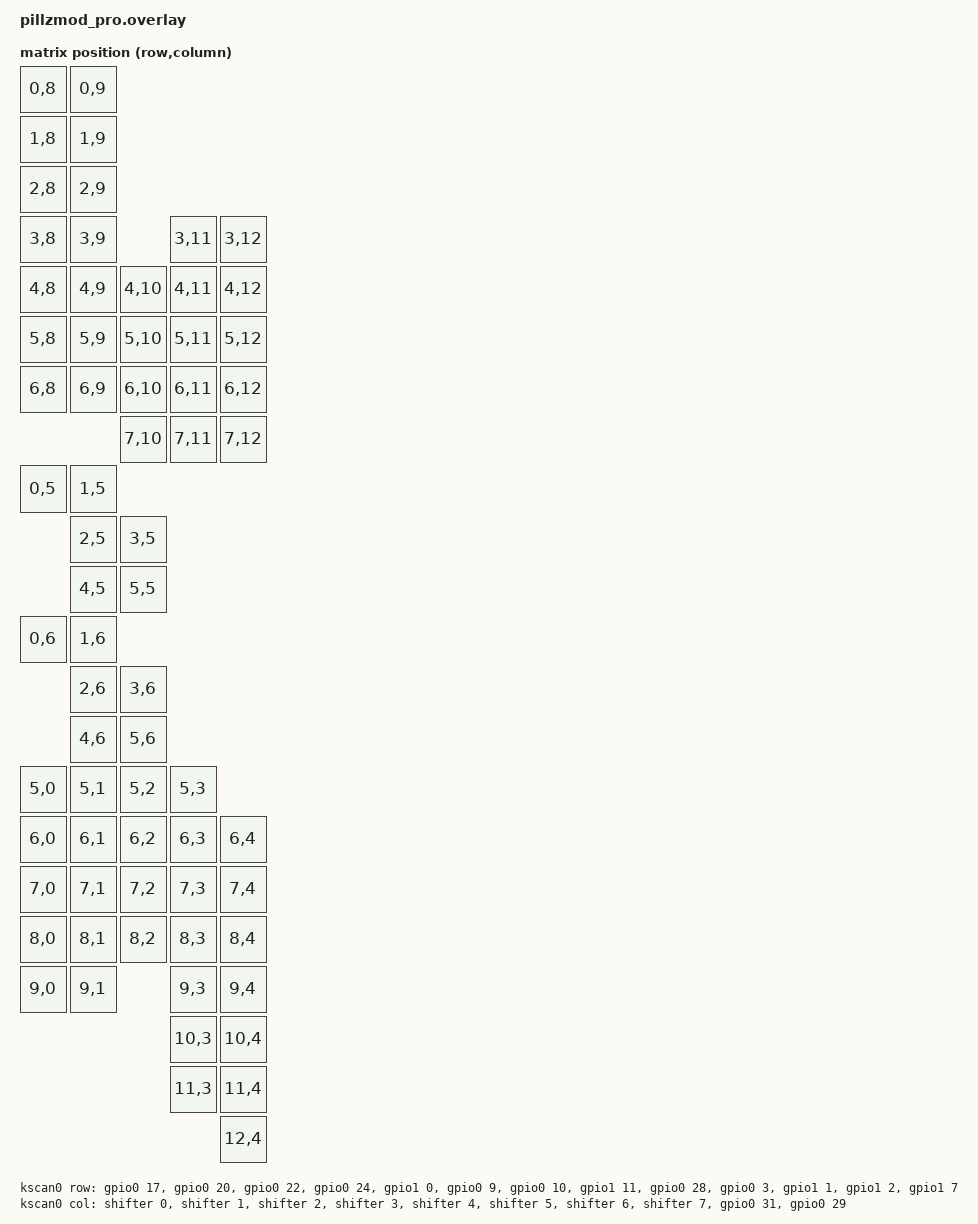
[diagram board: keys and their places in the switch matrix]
#include <dt-bindings/zmk/matrix_transform.h>
#include <physical_layouts.dtsi>

&pro_micro_spi {
    status = "okay";
    cs-gpios = <&gpio0 9 GPIO_ACTIVE_LOW>;

    shifter: 595@0 {
        compatible = "zmk,gpio-595";
        status = "okay";
        gpio-controller;
        spi-max-frequency = <2000000>;
        reg = <0>;
        #gpio-cells = <2>;
        ngpios = <8>;
    };
};

/ {
    chosen {
        zmk,kscan = &kscan0;
        zmk,physical-layout = &physical_layout0;
    };

    aliases {
        led-caps = &led_caps_node;
        led-num = &led_num_node;
        led-scroll = &led_scroll_node;
    };

    leds {
        compatible = "gpio-leds";

        led_caps_node: led_0 {
            gpios = <&gpio0 15 GPIO_ACTIVE_HIGH>;
            label = "Caps Lock LED";
        };

        led_num_node: led_1 {
            gpios = <&gpio0 16 GPIO_ACTIVE_HIGH>;
            label = "Num Lock LED";
        };

        led_scroll_node: led_2 {
            gpios = <&gpio0 14 GPIO_ACTIVE_HIGH>;
            label = "Scroll Lock LED";
        };
    };

    physical_layout0: physical_layout_0 {
        compatible = "zmk,physical-layout";
        display-name = "Default Layout";
        transform = <&default_transform>;
        kscan = <&kscan0>;

        keys
            = <&key_physical_attrs 100 100 0 0 0 0 0>
            , <&key_physical_attrs 100 100 0 0 0 0 0>
            , <&key_physical_attrs 100 100 0 0 0 0 0>
            , <&key_physical_attrs 100 100 0 0 0 0 0>
            , <&key_physical_attrs 100 100 0 0 0 0 0>
            , <&key_physical_attrs 100 100 0 0 0 0 0>
            , <&key_physical_attrs 100 100 0 0 0 0 0>
            , <&key_physical_attrs 100 100 0 0 0 0 0>
            , <&key_physical_attrs 100 100 0 0 0 0 0>
            , <&key_physical_attrs 100 100 0 0 0 0 0>
            , <&key_physical_attrs 100 100 0 0 0 0 0>
            , <&key_physical_attrs 100 100 0 0 0 0 0>
            , <&key_physical_attrs 100 100 0 0 0 0 0>
            , <&key_physical_attrs 100 100 0 0 0 0 0>
            , <&key_physical_attrs 100 100 0 0 0 0 0>
            , <&key_physical_attrs 100 100 0 0 0 0 0>
            , <&key_physical_attrs 100 100 0 0 0 0 0>
            , <&key_physical_attrs 100 100 0 0 0 0 0>
            , <&key_physical_attrs 100 100 0 0 0 0 0>
            , <&key_physical_attrs 100 100 0 0 0 0 0>
            , <&key_physical_attrs 100 100 0 0 0 0 0>
            , <&key_physical_attrs 100 100 0 0 0 0 0>
            , <&key_physical_attrs 100 100 0 0 0 0 0>
            , <&key_physical_attrs 100 100 0 0 0 0 0>
            , <&key_physical_attrs 100 100 0 0 0 0 0>
            , <&key_physical_attrs 100 100 0 0 0 0 0>
            , <&key_physical_attrs 100 100 0 0 0 0 0>
            , <&key_physical_attrs 100 100 0 0 0 0 0>
            , <&key_physical_attrs 100 100 0 0 0 0 0>
            , <&key_physical_attrs 100 100 0 0 0 0 0>
            , <&key_physical_attrs 100 100 0 0 0 0 0>
            , <&key_physical_attrs 100 100 0 0 0 0 0>
            , <&key_physical_attrs 100 100 0 0 0 0 0>
            , <&key_physical_attrs 100 100 0 0 0 0 0>
            , <&key_physical_attrs 100 100 0 0 0 0 0>
            , <&key_physical_attrs 100 100 0 0 0 0 0>
            , <&key_physical_attrs 100 100 0 0 0 0 0>
            , <&key_physical_attrs 100 100 0 0 0 0 0>
            , <&key_physical_attrs 100 100 0 0 0 0 0>
            , <&key_physical_attrs 100 100 0 0 0 0 0>
            , <&key_physical_attrs 100 100 0 0 0 0 0>
            , <&key_physical_attrs 100 100 0 0 0 0 0>
            , <&key_physical_attrs 100 100 0 0 0 0 0>
            , <&key_physical_attrs 100 100 0 0 0 0 0>
            , <&key_physical_attrs 100 100 0 0 0 0 0>
            , <&key_physical_attrs 100 100 0 0 0 0 0>
            , <&key_physical_attrs 100 100 0 0 0 0 0>
            , <&key_physical_attrs 100 100 0 0 0 0 0>
            , <&key_physical_attrs 100 100 0 0 0 0 0>
            , <&key_physical_attrs 100 100 0 0 0 0 0>
            , <&key_physical_attrs 100 100 0 0 0 0 0>
            , <&key_physical_attrs 100 100 0 0 0 0 0>
            ;
    };

    default_transform: matrix_transform {
        compatible = "zmk,matrix-transform";
        columns = <13>;
        rows = <13>;

        map = <
            RC(0,8)  RC(0,9)
            RC(1,8)  RC(1,9)
            RC(2,8)  RC(2,9)
            RC(3,8)  RC(3,9)          RC(3,11) RC(3,12)
            RC(4,8)  RC(4,9)  RC(4,10) RC(4,11) RC(4,12)
            RC(5,8)  RC(5,9)  RC(5,10) RC(5,11) RC(5,12)
            RC(6,8)  RC(6,9)  RC(6,10) RC(6,11) RC(6,12)
                              RC(7,10) RC(7,11) RC(7,12)

            RC(0,5)  RC(1,5)
                     RC(2,5)  RC(3,5)
                     RC(4,5)  RC(5,5)

            RC(0,6)  RC(1,6)
                     RC(2,6)  RC(3,6)
                     RC(4,6)  RC(5,6)

            RC(5,0)  RC(5,1)  RC(5,2)  RC(5,3)
            RC(6,0)  RC(6,1)  RC(6,2)  RC(6,3)  RC(6,4)
            RC(7,0)  RC(7,1)  RC(7,2)  RC(7,3)  RC(7,4)
            RC(8,0)  RC(8,1)  RC(8,2)  RC(8,3)  RC(8,4)
            RC(9,0)  RC(9,1)           RC(9,3)  RC(9,4)
                                       RC(10,3) RC(10,4)
                                       RC(11,3) RC(11,4)
                                                RC(12,4)
        >;
    };

    kscan0: kscan {
        compatible = "zmk,kscan-gpio-matrix";
        label = "KSCAN";
        diode-direction = "col2row";

        row-gpios
            = <&gpio0 17 (GPIO_ACTIVE_HIGH | GPIO_PULL_DOWN)>
            , <&gpio0 20 (GPIO_ACTIVE_HIGH | GPIO_PULL_DOWN)>
            , <&gpio0 22 (GPIO_ACTIVE_HIGH | GPIO_PULL_DOWN)>
            , <&gpio0 24 (GPIO_ACTIVE_HIGH | GPIO_PULL_DOWN)>
            , <&gpio1 0  (GPIO_ACTIVE_HIGH | GPIO_PULL_DOWN)>
            , <&gpio0 9  (GPIO_ACTIVE_HIGH | GPIO_PULL_DOWN)>
            , <&gpio0 10 (GPIO_ACTIVE_HIGH | GPIO_PULL_DOWN)>
            , <&gpio1 11 (GPIO_ACTIVE_HIGH | GPIO_PULL_DOWN)>
            , <&gpio0 28 (GPIO_ACTIVE_HIGH | GPIO_PULL_DOWN)>
            , <&gpio0 3  (GPIO_ACTIVE_HIGH | GPIO_PULL_DOWN)>
            , <&gpio1 1  (GPIO_ACTIVE_HIGH | GPIO_PULL_DOWN)>
            , <&gpio1 2  (GPIO_ACTIVE_HIGH | GPIO_PULL_DOWN)>
            , <&gpio1 7  (GPIO_ACTIVE_HIGH | GPIO_PULL_DOWN)>
            ;

        col-gpios
            = <&shifter 0 GPIO_ACTIVE_HIGH>
            , <&shifter 1 GPIO_ACTIVE_HIGH>
            , <&shifter 2 GPIO_ACTIVE_HIGH>
            , <&shifter 3 GPIO_ACTIVE_HIGH>
            , <&shifter 4 GPIO_ACTIVE_HIGH>
            , <&shifter 5 GPIO_ACTIVE_HIGH>
            , <&shifter 6 GPIO_ACTIVE_HIGH>
            , <&shifter 7 GPIO_ACTIVE_HIGH>
            , <&gpio0 31 GPIO_ACTIVE_HIGH>
            , <&gpio0 29 GPIO_ACTIVE_HIGH>
            ;
    };
};
